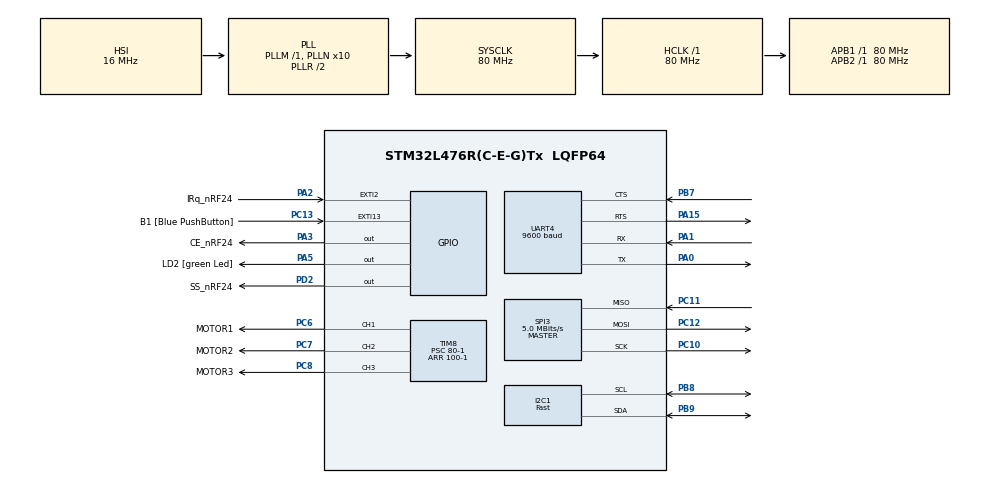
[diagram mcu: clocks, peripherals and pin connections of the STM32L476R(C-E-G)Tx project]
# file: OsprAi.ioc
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I2C1.I2C_Speed_Mode=I2C_Fast
I2C1.Timing=0x00F12981
Mcu.Family=STM32L4
Mcu.Name=STM32L476R(C-E-G)Tx
Mcu.Package=LQFP64
NVIC.EXTI15_10_IRQn=true\:0\:0\:false\:false\:true\:true\:true\:true
NVIC.EXTI2_IRQn=true\:0\:0\:false\:false\:true\:true\:true\:true
NVIC.I2C1_ER_IRQn=true\:0\:0\:false\:false\:true\:true\:true\:true
NVIC.I2C1_EV_IRQn=true\:0\:0\:false\:false\:true\:true\:true\:true
NVIC.PriorityGroup=NVIC_PRIORITYGROUP_4
NVIC.SPI3_IRQn=true\:0\:0\:false\:false\:true\:true\:true\:true
NVIC.TIM2_IRQn=true\:0\:0\:false\:false\:true\:true\:true\:true
NVIC.UART4_IRQn=true\:0\:0\:false\:false\:true\:true\:true\:true
PA0.Mode=Asynchronous
PA0.Signal=UART4_TX
PA1.Mode=Asynchronous
PA1.Signal=UART4_RX
PA13\ (JTMS-SWDIO).GPIO_Label=TMS
PA13\ (JTMS-SWDIO).Mode=Serial_Wire
PA13\ (JTMS-SWDIO).Signal=SYS_JTMS-SWDIO
PA14\ (JTCK-SWCLK).GPIO_Label=TCK
PA14\ (JTCK-SWCLK).Mode=Serial_Wire
PA14\ (JTCK-SWCLK).Signal=SYS_JTCK-SWCLK
PA15\ (JTDI).Mode=CTS_RTS
PA15\ (JTDI).Signal=UART4_RTS
PA2.GPIO_Label=IRq_nRF24
PA2.GPIO_ModeDefaultEXTI=GPIO_MODE_IT_FALLING
PA2.Signal=GPXTI2
PA3.GPIO_Label=CE_nRF24
PA3.PinState=GPIO_PIN_RESET
PA3.Signal=GPIO_Output
PA5.GPIO_Label=LD2 [green Led]
PA5.GPIO_ModeDefaultOutputPP=GPIO_MODE_OUTPUT_PP
PA5.GPIO_PuPd=GPIO_NOPULL
PA5.GPIO_Speed=GPIO_SPEED_FREQ_LOW
PA5.Signal=GPIO_Output
PB3\ (JTDO-TRACESWO).GPIO_Label=SWO
PB3\ (JTDO-TRACESWO).Signal=SYS_JTDO-SWO
PB7.Mode=CTS_RTS
PB7.Signal=UART4_CTS
PB8.GPIO_Pu=GPIO_PULLUP
PB8.Mode=I2C
PB8.Signal=I2C1_SCL
PB9.GPIO_Pu=GPIO_PULLUP
PB9.Mode=I2C
PB9.Signal=I2C1_SDA
PC0.Signal=LPUART1_RX
PC1.Signal=LPUART1_TX
PC10.Mode=Full_Duplex_Master
PC10.Signal=SPI3_SCK
PC11.Mode=Full_Duplex_Master
PC11.Signal=SPI3_MISO
PC12.Mode=Full_Duplex_Master
PC12.Signal=SPI3_MOSI
PC13.GPIO_Label=B1 [Blue PushButton]
PC13.GPIO_ModeDefaultEXTI=GPIO_MODE_IT_FALLING
PC13.GPIO_PuPd=GPIO_NOPULL
PC13.Signal=GPXTI13
PC14-OSC32_IN\ (PC14).Mode=LSE-External-Oscillator
PC14-OSC32_IN\ (PC14).Signal=RCC_OSC32_IN
PC15-OSC32_OUT\ (PC15).Mode=LSE-External-Oscillator
PC15-OSC32_OUT\ (PC15).Signal=RCC_OSC32_OUT
PC6.GPIO_Label=MOTOR1
PC6.Signal=S_TIM8_CH1
PC7.GPIO_Label=MOTOR2
PC7.Signal=S_TIM8_CH2
PC8.GPIO_Label=MOTOR3
PC8.Signal=S_TIM8_CH3
PD2.GPIO_Label=SS_nRF24
PD2.PinState=GPIO_PIN_SET
PD2.Signal=GPIO_Output
PH0-OSC_IN\ (PH0).Mode=HSE-External-Oscillator
PH0-OSC_IN\ (PH0).Signal=RCC_OSC_IN
PH1-OSC_OUT\ (PH1).Mode=HSE-External-Oscillator
PH1-OSC_OUT\ (PH1).Signal=RCC_OSC_OUT
ProjectManager.HeapSize=0x200
ProjectManager.StackSize=0x400
ProjectManager.TargetToolchain=STM32CubeIDE
RCC.ADCFreq_Value=64000000
RCC.AHBFreq_Value=80000000
RCC.APB1Freq_Value=80000000
RCC.APB1TimFreq_Value=80000000
RCC.APB2Freq_Value=80000000
RCC.APB2TimFreq_Value=80000000
RCC.CortexFreq_Value=80000000
RCC.HCLKFreq_Value=80000000
RCC.HSE_VALUE=8000000
RCC.HSI_VALUE=16000000
RCC.MSI_VALUE=4000000
RCC.PLLN=10
RCC.PLLSourceVirtual=RCC_PLLSOURCE_HSI
RCC.PREFETCH_ENABLE=1
RCC.SYSCLKFreq_VALUE=80000000
RCC.SYSCLKSource=RCC_SYSCLKSOURCE_PLLCLK
RCC.USBFreq_Value=64000000
RCC.VCOOutputFreq_Value=160000000
SH.S_TIM8_CH1.0=TIM8_CH1,PWM Generation1 CH1
SH.S_TIM8_CH2.0=TIM8_CH2,PWM Generation2 CH2
SH.S_TIM8_CH3.0=TIM8_CH3,Output Compare3 CH3
SPI3.BaudRatePrescaler=SPI_BAUDRATEPRESCALER_16
SPI3.CalculateBaudRate=5.0 MBits/s
SPI3.DataSize=SPI_DATASIZE_8BIT
SPI3.Direction=SPI_DIRECTION_2LINES
SPI3.Mode=SPI_MODE_MASTER
SPI3.VirtualType=VM_MASTER
TIM2.Period=1600
TIM2.Prescaler=999
TIM2.TIM_MasterOutputTrigger=TIM_TRGO_RESET
TIM2.TIM_MasterSlaveMode=TIM_MASTERSLAVEMODE_DISABLE
TIM8.Channel-Output\ Compare3\ CH3=TIM_CHANNEL_3
TIM8.Channel-PWM\ Generation1\ CH1=TIM_CHANNEL_1
TIM8.Channel-PWM\ Generation2\ CH2=TIM_CHANNEL_2
TIM8.Period=100-1
TIM8.Prescaler=80-1
UART4.AutoBaudRateEnableParam=UART_ADVFEATURE_AUTOBAUDRATE_DISABLE
UART4.BaudRate=9600
VP_TIM2_VS_ClockSourceINT.Mode=Internal
VP_TIM2_VS_OPM.Mode=OPM_bit
VP_TIM8_VS_ClockSourceINT.Mode=Internal
board=NUCLEO-L476RG

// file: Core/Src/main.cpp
/* USER CODE BEGIN Header */
/**
  ******************************************************************************
  * @file           : main.c
  * @brief          : Main program body
  ******************************************************************************
  * @attention
  *
  * Copyright (c) 2025 STMicroelectronics.
  * All rights reserved.
  *
  * This software is licensed under terms that can be found in the LICENSE file
  * in the root directory of this software component.
  * If no LICENSE file comes with this software, it is provided AS-IS.
  *
  ******************************************************************************
  */
/* USER CODE END Header */
#include "main.h"

/* USER CODE BEGIN Includes */
#include "Sensors/GpsManager.h"
#include "MotorsController.h"
#include "Sensors/ImuManager.h"
#include "Network/nRF24Interface.h"
#include <map>
#include <vector>

using namespace Osprai;
using namespace std;
/* USER CODE END Includes */

I2C_HandleTypeDef hi2c1;

SPI_HandleTypeDef hspi3;

TIM_HandleTypeDef htim2;
TIM_HandleTypeDef htim8;

UART_HandleTypeDef huart4;

void SystemClock_Config(void);
static void MX_GPIO_Init(void);
static void MX_TIM2_Init(void);
static void MX_UART4_Init(void);
static void MX_TIM8_Init(void);
static void MX_I2C1_Init(void);
static void MX_SPI3_Init(void);

/* USER CODE BEGIN 0 */
nRF24Interface radioInterface(10);
GpsManager gps(10);
MotorsController motorController;
ImuManager imu(10);
uint8_t data [16] {0};

int _write(int file, char *ptr, int len) {
	int DataIdx;
	for (DataIdx= 0; DataIdx < len; DataIdx++) {
		ITM_SendChar(*ptr++);
	}
	return len;
}

/* USER CODE END 0 */

int main(void)
{

  /* MCU Configuration--------------------------------------------------------*/

  /* Reset of all peripherals, Initializes the Flash interface and the Systick. */
  HAL_Init();

  /* Configure the system clock */
  SystemClock_Config();

  /* Initialize all configured peripherals */
  MX_GPIO_Init();
  MX_TIM2_Init();
  MX_UART4_Init();
  MX_TIM8_Init();
  MX_I2C1_Init();
  MX_SPI3_Init();
  /* USER CODE BEGIN 2 */
  //Set each interfaces of all the sensors
  imu.setI2CInterface(&hi2c1);
  gps.setUARTInterface(&huart4);
  //Configuration of all the sensors
  map<TIM_HandleTypeDef *, std::vector<unsigned int> > motorSources;
  //AUTO Acknowledge for all data pipes
  //Enable data pipes => pipes 0 & 1
  //Address Width => 3 Bytes
  //Delay between 2 transmission => 250us
  //Setup RF Channel(communication bandwidth range) => 76
  //Set the channel frequency communication => 2Mbps
  //Disable Global Dynamic Payload Size
  //Payload Size for P0 & P1 => 32 Bytes
  map<uint8_t, uint8_t> nRFConfig {{EN_AA_MODE_REG, 0x3f},
	  	  	  	  	  	  	  	  	  	  	  {EN_RXADDR_REG, 0x03},
											  {SETUP_AW_REG, 0x01},
											  {SETUP_RETR_REG, 0x00},
											  {RF_CH_REG, (uint8_t)74},
  	  	  	  	  	  	  	  	  	  	  	  {RF_SETUP_REG, (uint8_t)0b00001110},
  	  	  	  	  	  	  	  	  	  	  	  {FEATURE_REG, 0x00},
  	  	  	  	  	  	  	  	  	  	  	  {RX_PW_P0_REG, 0x20},
											  {RX_PW_P1_REG, 0x20}};
  radioInterface.PerformCustomConfiguration((uint16_t *)0x00, &nRFConfig);
  //imu.InitSensor();
  imu.SensorConfiguration(nullptr);
  gps.setSeparator(',');
  //gps.setSeparator(',');
  gps.setSof(vector<uint8_t> {'$'}, vector<uint8_t> {'a','b', 'c', 'd'});

  //lora.PerformCustomConfiguration(nullptr, &loraConfig);
  /*vector<unsigned int> motorChannels= {TIM_CHANNEL_1, TIM_CHANNEL_2, TIM_CHANNEL_3};
  motorSources[&htim8]= motorChannels;
  HAL_StatusTypeDef status= motorController.InitController(motorSources, false);*/
  //gps.UpdateLocation();
  HAL_TIM_PWM_Start(&htim8, TIM_CHANNEL_1);
  /*HAL_StatusTypeDef status= HAL_I2C_IsDeviceReady(&hi2c1, 0x68, 10, 1000);
  if (status != HAL_OK)
	  status= HAL_I2C_IsDeviceReady(&hi2c1, 0x69, 10, 1000);

  HAL_I2C_Master_Transmit(&hi2c1, 0x68, new uint8_t[2] {0x6B, 0x00}, 2, 1000);
  HAL_I2C_Master_Receive_IT(&hi2c1, 0x68, data, 8);*/
  /* USER CODE END 2 */

  /* Infinite loop */
  /* USER CODE BEGIN WHILE */
  //Start Update Data Loop with Interrupt | Set enableInterrupt to False
  gps.UpdateData(true);
  //Update Data call in While Loop use Blocking Mode | Set enableInterrupt to False
  while (1)
  {
	  /*if (lora.IsDataAvailable() == 1) {
		  lora.ReceiveData();
	  }*/
	  //imu.UpdateData(false);
	  /*printf("TEST");
	  HAL_Delay(1000);*/
	  /*for(int i=0; i<=50; i++){
	  	TIM8->CCR1 = i;
	  	HAL_Delay(5);
	  }*/
	  /*for(int i=50; i>=0; i--){
		  TIM8->CCR1 = i;
	  	  HAL_Delay(15);
	  }*/
    /* USER CODE END WHILE */

  }
}

void SystemClock_Config(void)
{
  RCC_OscInitTypeDef RCC_OscInitStruct = {0};
  RCC_ClkInitTypeDef RCC_ClkInitStruct = {0};

  /** Configure the main internal regulator output voltage
  */
  if (HAL_PWREx_ControlVoltageScaling(PWR_REGULATOR_VOLTAGE_SCALE1) != HAL_OK)
  {
    Error_Handler();
  }

  /** Initializes the RCC Oscillators according to the specified parameters
  * in the RCC_OscInitTypeDef structure.
  */
  RCC_OscInitStruct.OscillatorType = RCC_OSCILLATORTYPE_HSI;
  RCC_OscInitStruct.HSIState = RCC_HSI_ON;
  RCC_OscInitStruct.HSICalibrationValue = RCC_HSICALIBRATION_DEFAULT;
  RCC_OscInitStruct.PLL.PLLState = RCC_PLL_ON;
  RCC_OscInitStruct.PLL.PLLSource = RCC_PLLSOURCE_HSI;
  RCC_OscInitStruct.PLL.PLLM = 1;
  RCC_OscInitStruct.PLL.PLLN = 10;
  RCC_OscInitStruct.PLL.PLLP = RCC_PLLP_DIV7;
  RCC_OscInitStruct.PLL.PLLQ = RCC_PLLQ_DIV2;
  RCC_OscInitStruct.PLL.PLLR = RCC_PLLR_DIV2;
  if (HAL_RCC_OscConfig(&RCC_OscInitStruct) != HAL_OK)
  {
    Error_Handler();
  }

  /** Initializes the CPU, AHB and APB buses clocks
  */
  RCC_ClkInitStruct.ClockType = RCC_CLOCKTYPE_HCLK|RCC_CLOCKTYPE_SYSCLK
                              |RCC_CLOCKTYPE_PCLK1|RCC_CLOCKTYPE_PCLK2;
  RCC_ClkInitStruct.SYSCLKSource = RCC_SYSCLKSOURCE_PLLCLK;
  RCC_ClkInitStruct.AHBCLKDivider = RCC_SYSCLK_DIV1;
  RCC_ClkInitStruct.APB1CLKDivider = RCC_HCLK_DIV1;
  RCC_ClkInitStruct.APB2CLKDivider = RCC_HCLK_DIV1;

  if (HAL_RCC_ClockConfig(&RCC_ClkInitStruct, FLASH_LATENCY_4) != HAL_OK)
  {
    Error_Handler();
  }
}

static void MX_I2C1_Init(void)
{

  hi2c1.Instance = I2C1;
  hi2c1.Init.Timing = 0x00F12981;
  hi2c1.Init.OwnAddress1 = 0;
  hi2c1.Init.AddressingMode = I2C_ADDRESSINGMODE_7BIT;
  hi2c1.Init.DualAddressMode = I2C_DUALADDRESS_DISABLE;
  hi2c1.Init.OwnAddress2 = 0;
  hi2c1.Init.OwnAddress2Masks = I2C_OA2_NOMASK;
  hi2c1.Init.GeneralCallMode = I2C_GENERALCALL_DISABLE;
  hi2c1.Init.NoStretchMode = I2C_NOSTRETCH_DISABLE;
  if (HAL_I2C_Init(&hi2c1) != HAL_OK)
  {
    Error_Handler();
  }

  /** Configure Analogue filter
  */
  if (HAL_I2CEx_ConfigAnalogFilter(&hi2c1, I2C_ANALOGFILTER_ENABLE) != HAL_OK)
  {
    Error_Handler();
  }

  /** Configure Digital filter
  */
  if (HAL_I2CEx_ConfigDigitalFilter(&hi2c1, 0) != HAL_OK)
  {
    Error_Handler();
  }

}

static void MX_SPI3_Init(void)
{

  /* SPI3 parameter configuration*/
  hspi3.Instance = SPI3;
  hspi3.Init.Mode = SPI_MODE_MASTER;
  hspi3.Init.Direction = SPI_DIRECTION_2LINES;
  hspi3.Init.DataSize = SPI_DATASIZE_8BIT;
  hspi3.Init.CLKPolarity = SPI_POLARITY_LOW;
  hspi3.Init.CLKPhase = SPI_PHASE_1EDGE;
  hspi3.Init.NSS = SPI_NSS_SOFT;
  hspi3.Init.BaudRatePrescaler = SPI_BAUDRATEPRESCALER_16;
  hspi3.Init.FirstBit = SPI_FIRSTBIT_MSB;
  hspi3.Init.TIMode = SPI_TIMODE_DISABLE;
  hspi3.Init.CRCCalculation = SPI_CRCCALCULATION_DISABLE;
  hspi3.Init.CRCPolynomial = 7;
  hspi3.Init.CRCLength = SPI_CRC_LENGTH_DATASIZE;
  hspi3.Init.NSSPMode = SPI_NSS_PULSE_ENABLE;
  if (HAL_SPI_Init(&hspi3) != HAL_OK)
  {
    Error_Handler();
  }

}

static void MX_TIM2_Init(void)
{

  TIM_ClockConfigTypeDef sClockSourceConfig = {0};
  TIM_MasterConfigTypeDef sMasterConfig = {0};

  htim2.Instance = TIM2;
  htim2.Init.Prescaler = 999;
  htim2.Init.CounterMode = TIM_COUNTERMODE_UP;
  htim2.Init.Period = 1600;
  htim2.Init.ClockDivision = TIM_CLOCKDIVISION_DIV1;
  htim2.Init.AutoReloadPreload = TIM_AUTORELOAD_PRELOAD_DISABLE;
  if (HAL_TIM_Base_Init(&htim2) != HAL_OK)
  {
    Error_Handler();
  }
  sClockSourceConfig.ClockSource = TIM_CLOCKSOURCE_INTERNAL;
  if (HAL_TIM_ConfigClockSource(&htim2, &sClockSourceConfig) != HAL_OK)
  {
    Error_Handler();
  }
  if (HAL_TIM_OnePulse_Init(&htim2, TIM_OPMODE_SINGLE) != HAL_OK)
  {
    Error_Handler();
  }
  sMasterConfig.MasterOutputTrigger = TIM_TRGO_RESET;
  sMasterConfig.MasterSlaveMode = TIM_MASTERSLAVEMODE_DISABLE;
  if (HAL_TIMEx_MasterConfigSynchronization(&htim2, &sMasterConfig) != HAL_OK)
  {
    Error_Handler();
  }

}

static void MX_TIM8_Init(void)
{

  TIM_ClockConfigTypeDef sClockSourceConfig = {0};
  TIM_MasterConfigTypeDef sMasterConfig = {0};
  TIM_OC_InitTypeDef sConfigOC = {0};
  TIM_BreakDeadTimeConfigTypeDef sBreakDeadTimeConfig = {0};

  htim8.Instance = TIM8;
  htim8.Init.Prescaler = 80-1;
  htim8.Init.CounterMode = TIM_COUNTERMODE_UP;
  htim8.Init.Period = 100-1;
  htim8.Init.ClockDivision = TIM_CLOCKDIVISION_DIV1;
  htim8.Init.RepetitionCounter = 0;
  htim8.Init.AutoReloadPreload = TIM_AUTORELOAD_PRELOAD_DISABLE;
  if (HAL_TIM_Base_Init(&htim8) != HAL_OK)
  {
    Error_Handler();
  }
  sClockSourceConfig.ClockSource = TIM_CLOCKSOURCE_INTERNAL;
  if (HAL_TIM_ConfigClockSource(&htim8, &sClockSourceConfig) != HAL_OK)
  {
    Error_Handler();
  }
  if (HAL_TIM_PWM_Init(&htim8) != HAL_OK)
  {
    Error_Handler();
  }
  if (HAL_TIM_OC_Init(&htim8) != HAL_OK)
  {
    Error_Handler();
  }
  sMasterConfig.MasterOutputTrigger = TIM_TRGO_RESET;
  sMasterConfig.MasterOutputTrigger2 = TIM_TRGO2_RESET;
  sMasterConfig.MasterSlaveMode = TIM_MASTERSLAVEMODE_DISABLE;
  if (HAL_TIMEx_MasterConfigSynchronization(&htim8, &sMasterConfig) != HAL_OK)
  {
    Error_Handler();
  }
  sConfigOC.OCMode = TIM_OCMODE_PWM1;
  sConfigOC.Pulse = 0;
  sConfigOC.OCPolarity = TIM_OCPOLARITY_HIGH;
  sConfigOC.OCNPolarity = TIM_OCNPOLARITY_HIGH;
  sConfigOC.OCFastMode = TIM_OCFAST_DISABLE;
  sConfigOC.OCIdleState = TIM_OCIDLESTATE_RESET;
  sConfigOC.OCNIdleState = TIM_OCNIDLESTATE_RESET;
  if (HAL_TIM_PWM_ConfigChannel(&htim8, &sConfigOC, TIM_CHANNEL_1) != HAL_OK)
  {
    Error_Handler();
  }
  if (HAL_TIM_PWM_ConfigChannel(&htim8, &sConfigOC, TIM_CHANNEL_2) != HAL_OK)
  {
    Error_Handler();
  }
  sConfigOC.OCMode = TIM_OCMODE_TIMING;
  if (HAL_TIM_OC_ConfigChannel(&htim8, &sConfigOC, TIM_CHANNEL_3) != HAL_OK)
  {
    Error_Handler();
  }
  sBreakDeadTimeConfig.OffStateRunMode = TIM_OSSR_DISABLE;
  sBreakDeadTimeConfig.OffStateIDLEMode = TIM_OSSI_DISABLE;
  sBreakDeadTimeConfig.LockLevel = TIM_LOCKLEVEL_OFF;
  sBreakDeadTimeConfig.DeadTime = 0;
  sBreakDeadTimeConfig.BreakState = TIM_BREAK_DISABLE;
  sBreakDeadTimeConfig.BreakPolarity = TIM_BREAKPOLARITY_HIGH;
  sBreakDeadTimeConfig.BreakFilter = 0;
  sBreakDeadTimeConfig.Break2State = TIM_BREAK2_DISABLE;
  sBreakDeadTimeConfig.Break2Polarity = TIM_BREAK2POLARITY_HIGH;
  sBreakDeadTimeConfig.Break2Filter = 0;
  sBreakDeadTimeConfig.AutomaticOutput = TIM_AUTOMATICOUTPUT_DISABLE;
  if (HAL_TIMEx_ConfigBreakDeadTime(&htim8, &sBreakDeadTimeConfig) != HAL_OK)
  {
    Error_Handler();
  }
  HAL_TIM_MspPostInit(&htim8);

}

static void MX_UART4_Init(void)
{

  huart4.Instance = UART4;
  huart4.Init.BaudRate = 9600;
  huart4.Init.WordLength = UART_WORDLENGTH_8B;
  huart4.Init.StopBits = UART_STOPBITS_1;
  huart4.Init.Parity = UART_PARITY_NONE;
  huart4.Init.Mode = UART_MODE_TX_RX;
  huart4.Init.HwFlowCtl = UART_HWCONTROL_RTS_CTS;
  huart4.Init.OverSampling = UART_OVERSAMPLING_16;
  huart4.Init.OneBitSampling = UART_ONE_BIT_SAMPLE_DISABLE;
  huart4.AdvancedInit.AdvFeatureInit = UART_ADVFEATURE_NO_INIT;
  if (HAL_UART_Init(&huart4) != HAL_OK)
  {
    Error_Handler();
  }

}

static void MX_GPIO_Init(void)
{
  GPIO_InitTypeDef GPIO_InitStruct = {0};

  /* GPIO Ports Clock Enable */
  __HAL_RCC_GPIOC_CLK_ENABLE();
  __HAL_RCC_GPIOH_CLK_ENABLE();
  __HAL_RCC_GPIOA_CLK_ENABLE();
  __HAL_RCC_GPIOD_CLK_ENABLE();
  __HAL_RCC_GPIOB_CLK_ENABLE();

  /*Configure GPIO pin Output Level */
  HAL_GPIO_WritePin(GPIOA, CE_nRF24_Pin|LD2_Pin, GPIO_PIN_RESET);

  /*Configure GPIO pin Output Level */
  HAL_GPIO_WritePin(SS_nRF24_GPIO_Port, SS_nRF24_Pin, GPIO_PIN_SET);

  /*Configure GPIO pin : B1_Pin */
  GPIO_InitStruct.Pin = B1_Pin;
  GPIO_InitStruct.Mode = GPIO_MODE_IT_FALLING;
  GPIO_InitStruct.Pull = GPIO_NOPULL;
  HAL_GPIO_Init(B1_GPIO_Port, &GPIO_InitStruct);

  /*Configure GPIO pins : PC0 PC1 */
  GPIO_InitStruct.Pin = GPIO_PIN_0|GPIO_PIN_1;
  GPIO_InitStruct.Mode = GPIO_MODE_AF_PP;
  GPIO_InitStruct.Pull = GPIO_NOPULL;
  GPIO_InitStruct.Speed = GPIO_SPEED_FREQ_VERY_HIGH;
  GPIO_InitStruct.Alternate = GPIO_AF8_LPUART1;
  HAL_GPIO_Init(GPIOC, &GPIO_InitStruct);

  /*Configure GPIO pin : IRq_nRF24_Pin */
  GPIO_InitStruct.Pin = IRq_nRF24_Pin;
  GPIO_InitStruct.Mode = GPIO_MODE_IT_FALLING;
  GPIO_InitStruct.Pull = GPIO_NOPULL;
  HAL_GPIO_Init(IRq_nRF24_GPIO_Port, &GPIO_InitStruct);

  /*Configure GPIO pins : CE_nRF24_Pin LD2_Pin */
  GPIO_InitStruct.Pin = CE_nRF24_Pin|LD2_Pin;
  GPIO_InitStruct.Mode = GPIO_MODE_OUTPUT_PP;
  GPIO_InitStruct.Pull = GPIO_NOPULL;
  GPIO_InitStruct.Speed = GPIO_SPEED_FREQ_LOW;
  HAL_GPIO_Init(GPIOA, &GPIO_InitStruct);

  /*Configure GPIO pin : SS_nRF24_Pin */
  GPIO_InitStruct.Pin = SS_nRF24_Pin;
  GPIO_InitStruct.Mode = GPIO_MODE_OUTPUT_PP;
  GPIO_InitStruct.Pull = GPIO_NOPULL;
  GPIO_InitStruct.Speed = GPIO_SPEED_FREQ_LOW;
  HAL_GPIO_Init(SS_nRF24_GPIO_Port, &GPIO_InitStruct);

  /* EXTI interrupt init*/
  HAL_NVIC_SetPriority(EXTI2_IRQn, 0, 0);
  HAL_NVIC_EnableIRQ(EXTI2_IRQn);

  HAL_NVIC_SetPriority(EXTI15_10_IRQn, 0, 0);
  HAL_NVIC_EnableIRQ(EXTI15_10_IRQn);

}

/* USER CODE BEGIN 4 */
void HAL_UART_TxCpltCallback(UART_HandleTypeDef *huart)
{
}

void HAL_UART_RxCpltCallback(UART_HandleTypeDef *huart)
{
	gps.UpdateData(true);
	//gps.UpdateLocation();
	//HAL_UART_Receive_IT(gps.getUARTInterface(), &gps.incomingByte, 1);
	//HAL_StatusTypeDef status= gps.UpdateLocation();
	//std::vector<int> setPoints= {10, 10, 10};
	//motorController.ApplySetPoints(setPoints);

}

void HAL_I2C_MasterRxCpltCallback(I2C_HandleTypeDef * hi2c)
{
  //imu.UpdatePose(true);
}

/* USER CODE END 4 */

void Error_Handler(void)
{
  __disable_irq();
  while (1)
  {
  }
}
